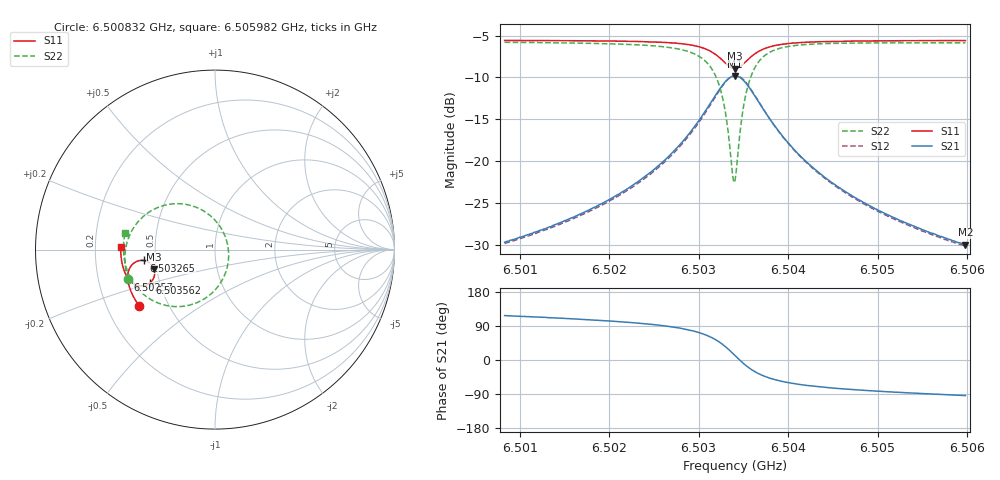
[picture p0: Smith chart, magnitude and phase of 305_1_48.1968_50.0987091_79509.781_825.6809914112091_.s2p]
#  HZ  S  RI  R  50.00
! Rohde & Schwarz Vector Network Analyzer
! Rohde-Schwarz,ZNB20-2Port,1311601062101988,3.16
! Created: UTC 3/20/2024, 11:49:44 AM
! freq[Hz]  re:S11  im:S11  re:S21  im:S21  re:S12  im:S12  re:S22  im:S22
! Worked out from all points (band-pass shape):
!   401 points, 6.500832 GHz to 6.505982 GHz, reference 50 ohm
!   highest |S21| = -9.80 dB at 6.503407 GHz (marker M1); lowest = -30.0 dB at 6.505982 GHz (marker M2)
!   |S21| within 3 dB of the highest: 6.503149 GHz to 6.503664 GHz (515.1 kHz wide, 0.00792 % of centre)
!   lowest |S11| = -9.0 dB at 6.503407 GHz (marker M3), VSWR 2.11, Z = 24.2 - j6.07 ohm
!   |S11| at or under -10 dB: nowhere
!   |S22| runs from -22.6 to -5.8 dB; largest |S21 - S12| = 0.011
!   S11 on the Smith chart (normalised r, x): 6.500832 GHz: 0.34, -0.30; 6.50257 GHz: 0.33, -0.15; 6.503265 GHz: 0.43, -0.06; 6.503562 GHz: 0.44, -0.20; 6.505982 GHz: 0.31, +0.01
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6.5008322e9  -0.4208 -0.3165  -0.015 0.0291  -0.0134 0.0292  -0.4863 -0.1646
6.5016947e9  -0.4587 -0.2537  -0.0145 0.0465  -0.0121 0.0461  -0.5015 -0.0749
6.5021969e9  -0.4766 -0.2098  -0.0115 0.067  -0.0084 0.0659  -0.499 -0.00469
6.5025573e9  -0.4855 -0.1705  -0.00299 0.0944  0.000624 0.0922  -0.4813 0.0663
6.5025702e9  -0.4857 -0.1688  -0.00253 0.0959  0.00114 0.0935  -0.48 0.0692
6.5028148e9  -0.4851 -0.1337  0.0156 0.1287  0.0194 0.1251  -0.4417 0.1386
6.5029951e9  -0.4737 -0.1004  0.05 0.1646  0.0533 0.1593  -0.374 0.2045
6.5031624e9  -0.4393 -0.0675  0.1271 0.1976  0.1284 0.1913  -0.2326 0.2551
6.5032654e9  -0.397 -0.0606  0.2117 0.1888  0.2121 0.1835  -0.0851 0.2272
6.5033169e9  -0.3718 -0.0692  0.2597 0.1611  0.2605 0.1564  -0.00571 0.17
6.5033813e9  -0.3455 -0.0954  0.3067 0.098  0.3091 0.093  0.065 0.0492
6.5034071e9  -0.3392 -0.1096  0.3166 0.0663  0.3196 0.0606  0.0757 -0.00986
6.5034199e9  -0.3373 -0.1172  0.3195 0.0498  0.3224 0.0435  0.0761 -0.0403
6.5034972e9  -0.3434 -0.1614  0.3024 -0.0434  0.3042 -0.0532  0.0188 -0.2032
6.5035616e9  -0.3642 -0.1868  0.2602 -0.0967  0.259 -0.1077  -0.0764 -0.2841
6.5036646e9  -0.4031 -0.2016  0.1867 -0.1322  0.1815 -0.1414  -0.2235 -0.3176
6.5038319e9  -0.4486 -0.1918  0.1066 -0.1294  0.0997 -0.1341  -0.3682 -0.2714
6.5040122e9  -0.4756 -0.1704  0.063 -0.1097  0.0568 -0.1119  -0.439 -0.2076
6.5042697e9  -0.4962 -0.1404  0.0335 -0.086  0.0287 -0.0864  -0.4817 -0.1363
6.5046688e9  -0.5121 -0.0994  0.0144 -0.0627  0.0112 -0.0622  -0.5043 -0.0598
6.5051322e9  -0.5211 -0.0571  0.00505 -0.0471  0.00274 -0.0464  -0.5098 0.00389
6.505982e9  -0.5258 0.0144  -0.00215 -0.0316  -0.00338 -0.0308  -0.5015 0.0924
